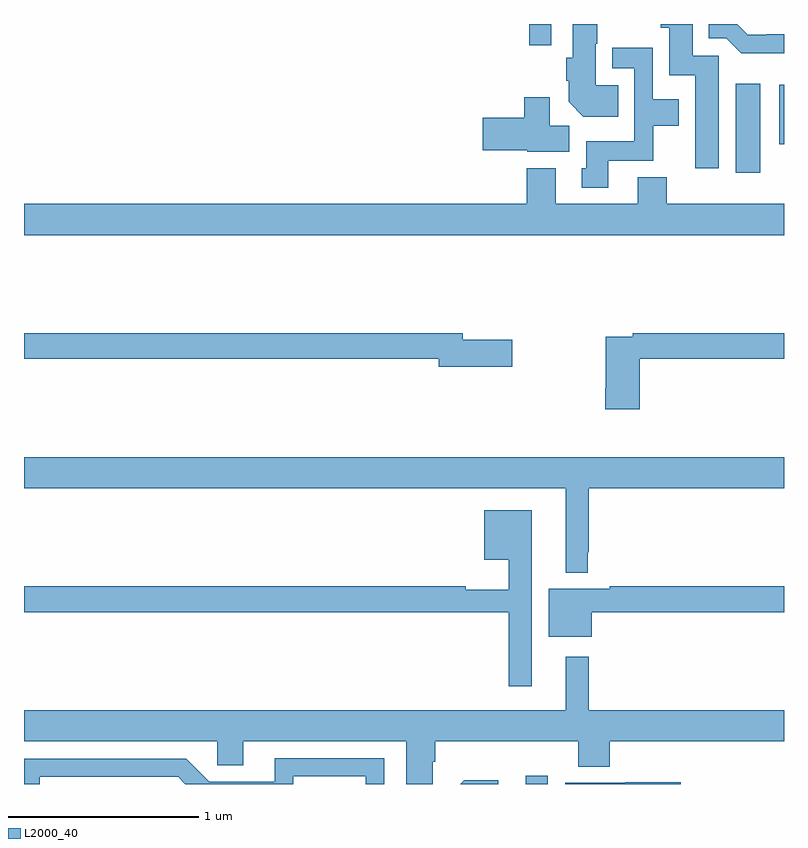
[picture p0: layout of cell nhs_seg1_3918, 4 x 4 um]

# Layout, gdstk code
import gdstk
lib = gdstk.Library(unit=1e-6, precision=1e-09)
def R(c, l, rs):  # rectangles x0, y0, x1, y1
    for r in rs: c.add(gdstk.rectangle(r[:2], r[2:], *l))
def P(c, l, *ps):  # polygons
    for p in ps: c.add(gdstk.Polygon(p, *l))
L2000_40 = (2000, 40)

nhs_seg1_3918 = lib.new_cell('nhs_seg1_3918')
R(nhs_seg1_3918, L2000_40, [(327.641,526.199,327.756,526.243), (328.745,529.416,328.876,529.885), (328.976,529.565,329,529.879), (327.658,530.088,327.774,530.199)])
P(nhs_seg1_3918, L2000_40, [(328.127,529.876),(328.009,529.876),(328.009,530.096),(328.017,530.096),(328.017,530.199),(327.887,530.199),(327.887,530.022),(327.854,530.022),(327.854,529.9),(327.866,529.9),(327.866,529.79),(327.944,529.712),(328.127,529.712)],
  [(328.657,530.031),(328.519,530.031),(328.519,530.199),(328.351,530.199),(328.351,530.179),(328.397,530.179),(328.397,529.928),(328.532,529.928),(328.532,529.44),(328.657,529.44)],
  [(329,530.145),(328.909,530.145),(328.909,530.142),(328.81,530.142),(328.753,530.199),(328.604,530.199),(328.604,530.124),(328.695,530.124),(328.774,530.046),(329,530.046)],
  [(328.075,529.478),(328.311,529.478),(328.311,529.664),(328.447,529.664),(328.447,529.804),(328.308,529.804),(328.308,530.074),(328.095,530.074),(328.095,529.965),(328.212,529.965),(328.212,529.582),(327.959,529.582),(327.959,529.44),(327.935,529.44),(327.935,529.338),(328.075,529.338)],
  [(327.871,529.664),(327.766,529.664),(327.766,529.813),(327.632,529.813),(327.632,529.706),(327.414,529.706),(327.414,529.535),(327.648,529.535),(327.648,529.526),(327.871,529.526)],
  [(329,529.252),(328.382,529.252),(328.382,529.393),(328.229,529.393),(328.229,529.252),(327.799,529.252),(327.799,529.441),(327.647,529.441),(327.647,529.252),(325,529.252),(325,529.088),(329,529.088)],
  [(327.571,528.536),(327.31,528.536),(327.31,528.572),(325,528.572),(325,528.436),(327.182,528.436),(327.182,528.394),(327.571,528.394)],
  [(328.241,528.436),(329,528.436),(329,528.572),(328.204,528.572),(328.204,528.552),(328.063,528.552),(328.063,528.283),(328.058,528.283),(328.058,528.171),(328.241,528.171)],
  [(327.966,527.419),(327.973,527.419),(327.973,527.756),(329,527.756),(329,527.92),(325,527.92),(325,527.756),(327.851,527.756),(327.851,527.312),(327.966,527.312)],
  [(327.673,527.641),(327.422,527.641),(327.422,527.378),(327.552,527.378),(327.552,527.221),(327.326,527.221),(327.326,527.24),(325,527.24),(325,527.104),(327.552,527.104),(327.552,526.713),(327.673,526.713)],
  [(327.988,527.104),(329,527.104),(329,527.24),(328.084,527.24),(328.084,527.227),(327.761,527.227),(327.761,526.973),(327.988,526.973)],
  [(327.15,526.315),(327.164,526.315),(327.164,526.424),(327.917,526.424),(327.917,526.291),(328.082,526.291),(328.082,526.424),(329,526.424),(329,526.588),(327.973,526.588),(327.973,526.87),(327.851,526.87),(327.851,526.588),(325,526.588),(325,526.424),(326.016,526.424),(326.016,526.297),(326.155,526.297),(326.155,526.424),(327.011,526.424),(327.011,526.199),(327.15,526.199)],
  [(325.083,526.236),(325.812,526.236),(325.849,526.199),(326.418,526.199),(326.418,526.239),(326.799,526.239),(326.799,526.199),(326.895,526.199),(326.895,526.335),(326.321,526.335),(326.321,526.212),(325.974,526.212),(325.854,526.332),(325,526.332),(325,526.199),(325.083,526.199)],
  [(327.496,526.22),(327.317,526.22),(327.296,526.199),(327.496,526.199)],
  [(328.457,526.208),(328.165,526.208),(328.165,526.206),(327.849,526.206),(327.849,526.199),(328.457,526.199)])

lib.write_gds('nhs_seg1_3918.gds')
